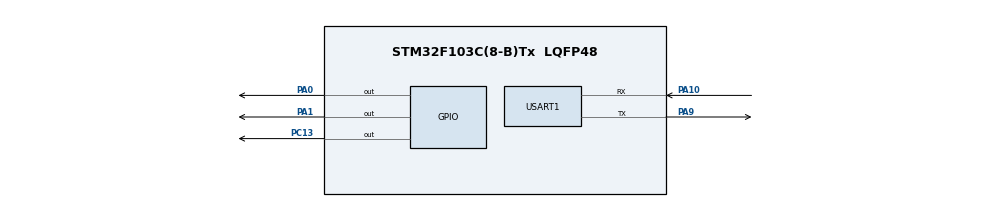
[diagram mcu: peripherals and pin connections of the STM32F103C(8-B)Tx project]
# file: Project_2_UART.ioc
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Mcu.Family=STM32F1
Mcu.Name=STM32F103C(8-B)Tx
Mcu.Package=LQFP48
NVIC.PriorityGroup=NVIC_PRIORITYGROUP_4
NVIC.USART1_IRQn=true\:0\:0\:false\:false\:true\:true\:true\:true
PA0-WKUP.Signal=GPIO_Output
PA1.Signal=GPIO_Output
PA10.Mode=Asynchronous
PA10.Signal=USART1_RX
PA13.Mode=Serial_Wire
PA13.Signal=SYS_JTMS-SWDIO
PA14.Mode=Serial_Wire
PA14.Signal=SYS_JTCK-SWCLK
PA9.Mode=Asynchronous
PA9.Signal=USART1_TX
PC13-TAMPER-RTC.Signal=GPIO_Output
ProjectManager.HeapSize=0x200
ProjectManager.StackSize=0x400
ProjectManager.TargetToolchain=STM32CubeIDE
RCC.APB1Freq_Value=8000000
RCC.APB2Freq_Value=8000000
USART1.VirtualMode=VM_ASYNC
board=custom

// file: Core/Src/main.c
/* USER CODE BEGIN Header */
/**
  ******************************************************************************
  * @file           : main.c
  * @brief          : Main program body
  ******************************************************************************
  * @attention
  *
  * Copyright (c) 2022 STMicroelectronics.
  * All rights reserved.
  *
  * This software is licensed under terms that can be found in the LICENSE file
  * in the root directory of this software component.
  * If no LICENSE file comes with this software, it is provided AS-IS.
  *
  ******************************************************************************
  */
/* USER CODE END Header */
#include "main.h"

UART_HandleTypeDef huart1;

void SystemClock_Config(void);
static void MX_GPIO_Init(void);
static void MX_USART1_UART_Init(void);

/* USER CODE BEGIN 0 */
uint8_t Rx_Buf = 0;
uint8_t uart_buffer[100];
uint8_t uart_poiter = 0;
uint8_t uart_flag = 0;
void HAL_UART_RxCpltCallback(UART_HandleTypeDef *huart)
{
	if(huart->Instance == huart1.Instance)
	{
		if(Rx_Buf != '\n')
		{
			uart_buffer[uart_poiter] = Rx_Buf;
			uart_poiter++;
		}
		else
		{
			uart_buffer[uart_poiter] = '\0';
			uart_flag = 1;
		}
		HAL_UART_Receive_IT(&huart1, &Rx_Buf, 1);
	}
}
void UART_Handle()
{
	if(uart_flag == 1)
	{
		// cut string
		char *arg_list[10];
		uint8_t arg_num = 0;
		char *temp_token = strtok((char *)uart_buffer , " ");
		while(temp_token != NULL)
		{
			arg_list[arg_num] = temp_token;
			arg_num++;
			temp_token = strtok(NULL , " ");
		}

		// solution

		if(strcmp(arg_list[0], "LED1")==0)
		{
			if(strcmp(arg_list[1], "ON")==0)
			{
				HAL_GPIO_WritePin(GPIOA, GPIO_PIN_0, 1);
				HAL_GPIO_WritePin(GPIOC, GPIO_PIN_13, 0);
			}
			else if(strcmp(arg_list[1], "OFF")==0)
			{
				HAL_GPIO_WritePin(GPIOA, GPIO_PIN_0, 0);
				HAL_GPIO_WritePin(GPIOC, GPIO_PIN_13, 1);
			}
		}
		if(strcmp(arg_list[0], "LED2")==0)
		{
			if(strcmp(arg_list[1], "ON")==0)
			{
				HAL_GPIO_WritePin(GPIOA, GPIO_PIN_1, 1);
			}
			else if(strcmp(arg_list[1], "OFF")==0)
			{
				HAL_GPIO_WritePin(GPIOA, GPIO_PIN_1, 0);
			}
		}
		uart_flag = 0;
		uart_poiter = 0;
	}

}
/* USER CODE END 0 */

int main(void)
{

  /* MCU Configuration--------------------------------------------------------*/

  /* Reset of all peripherals, Initializes the Flash interface and the Systick. */
  HAL_Init();

  /* Configure the system clock */
  SystemClock_Config();

  /* Initialize all configured peripherals */
  MX_GPIO_Init();
  MX_USART1_UART_Init();
  /* USER CODE BEGIN 2 */
HAL_UART_Receive_IT(&huart1, &Rx_Buf, 1);
  /* USER CODE END 2 */

  /* Infinite loop */
  while (1)
  {

    /* USER CODE BEGIN 3 */
	  UART_Handle();

  }
  /* USER CODE END 3 */
}

void SystemClock_Config(void)
{
  RCC_OscInitTypeDef RCC_OscInitStruct = {0};
  RCC_ClkInitTypeDef RCC_ClkInitStruct = {0};

  /** Initializes the RCC Oscillators according to the specified parameters
  * in the RCC_OscInitTypeDef structure.
  */
  RCC_OscInitStruct.OscillatorType = RCC_OSCILLATORTYPE_HSI;
  RCC_OscInitStruct.HSIState = RCC_HSI_ON;
  RCC_OscInitStruct.HSICalibrationValue = RCC_HSICALIBRATION_DEFAULT;
  RCC_OscInitStruct.PLL.PLLState = RCC_PLL_NONE;
  if (HAL_RCC_OscConfig(&RCC_OscInitStruct) != HAL_OK)
  {
    Error_Handler();
  }

  /** Initializes the CPU, AHB and APB buses clocks
  */
  RCC_ClkInitStruct.ClockType = RCC_CLOCKTYPE_HCLK|RCC_CLOCKTYPE_SYSCLK
                              |RCC_CLOCKTYPE_PCLK1|RCC_CLOCKTYPE_PCLK2;
  RCC_ClkInitStruct.SYSCLKSource = RCC_SYSCLKSOURCE_HSI;
  RCC_ClkInitStruct.AHBCLKDivider = RCC_SYSCLK_DIV1;
  RCC_ClkInitStruct.APB1CLKDivider = RCC_HCLK_DIV1;
  RCC_ClkInitStruct.APB2CLKDivider = RCC_HCLK_DIV1;

  if (HAL_RCC_ClockConfig(&RCC_ClkInitStruct, FLASH_LATENCY_0) != HAL_OK)
  {
    Error_Handler();
  }
}

static void MX_USART1_UART_Init(void)
{

  huart1.Instance = USART1;
  huart1.Init.BaudRate = 115200;
  huart1.Init.WordLength = UART_WORDLENGTH_8B;
  huart1.Init.StopBits = UART_STOPBITS_1;
  huart1.Init.Parity = UART_PARITY_NONE;
  huart1.Init.Mode = UART_MODE_TX_RX;
  huart1.Init.HwFlowCtl = UART_HWCONTROL_NONE;
  huart1.Init.OverSampling = UART_OVERSAMPLING_16;
  if (HAL_UART_Init(&huart1) != HAL_OK)
  {
    Error_Handler();
  }

}

static void MX_GPIO_Init(void)
{
  GPIO_InitTypeDef GPIO_InitStruct = {0};

  /* GPIO Ports Clock Enable */
  __HAL_RCC_GPIOC_CLK_ENABLE();
  __HAL_RCC_GPIOA_CLK_ENABLE();

  /*Configure GPIO pin Output Level */
  HAL_GPIO_WritePin(GPIOC, GPIO_PIN_13, GPIO_PIN_RESET);

  /*Configure GPIO pin Output Level */
  HAL_GPIO_WritePin(GPIOA, GPIO_PIN_0|GPIO_PIN_1, GPIO_PIN_RESET);

  /*Configure GPIO pin : PC13 */
  GPIO_InitStruct.Pin = GPIO_PIN_13;
  GPIO_InitStruct.Mode = GPIO_MODE_OUTPUT_PP;
  GPIO_InitStruct.Pull = GPIO_NOPULL;
  GPIO_InitStruct.Speed = GPIO_SPEED_FREQ_LOW;
  HAL_GPIO_Init(GPIOC, &GPIO_InitStruct);

  /*Configure GPIO pins : PA0 PA1 */
  GPIO_InitStruct.Pin = GPIO_PIN_0|GPIO_PIN_1;
  GPIO_InitStruct.Mode = GPIO_MODE_OUTPUT_PP;
  GPIO_InitStruct.Pull = GPIO_NOPULL;
  GPIO_InitStruct.Speed = GPIO_SPEED_FREQ_LOW;
  HAL_GPIO_Init(GPIOA, &GPIO_InitStruct);

}

void Error_Handler(void)
{
  __disable_irq();
  while (1)
  {
  }
}
